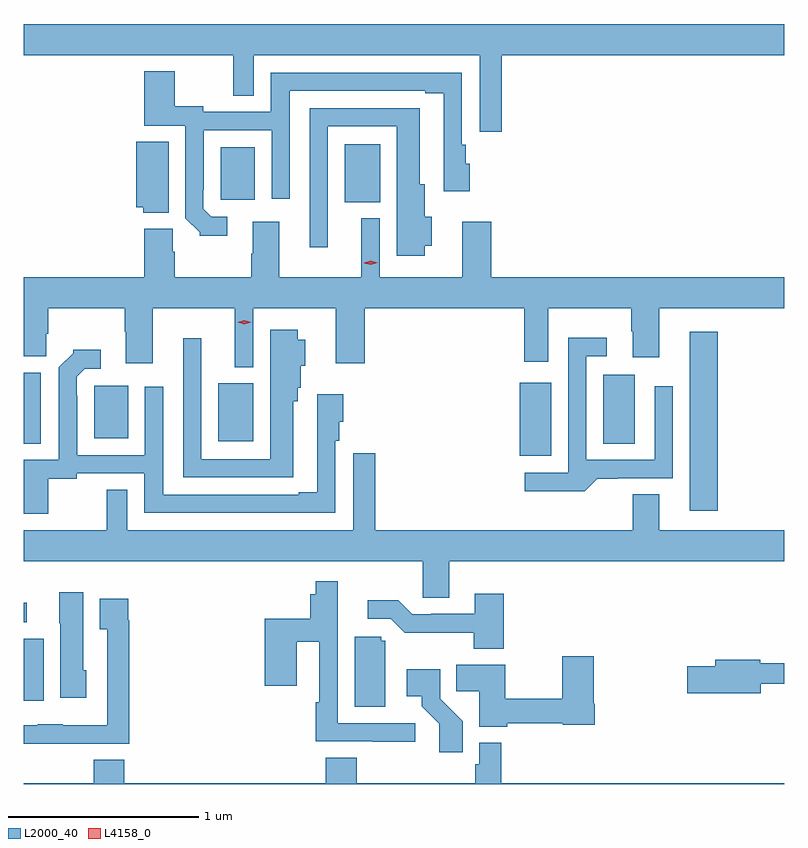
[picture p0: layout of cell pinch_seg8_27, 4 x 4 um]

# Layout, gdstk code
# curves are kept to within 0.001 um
import gdstk
lib = gdstk.Library(unit=1e-6, precision=1e-09)
def R(c, l, rs):  # rectangles x0, y0, x1, y1
    for r in rs: c.add(gdstk.rectangle(r[:2], r[2:], *l))
def P(c, l, *ps):  # polygons
    for p in ps: c.add(gdstk.Polygon(p, *l))
L2000_40 = (2000, 40)
L4158_0 = (4158, 0)

pinch_seg8_27 = lib.new_cell('pinch_seg8_27')
R(pinch_seg8_27, L2000_40, [(892.226,1126.422,892.33,1126.749), (892.226,1126.836,892.24,1126.939), (895.73,1127.424,895.877,1128.364), (894.836,1127.711,895,1128.097), (892.226,1127.776,892.315,1128.15), (895.274,1127.776,895.441,1128.139), (893.249,1127.789,893.434,1128.094), (892.595,1127.804,892.774,1128.081), (893.915,1129.046,894.1,1129.351), (893.261,1129.059,893.44,1129.336)])
P(pinch_seg8_27, L2000_40, [(894.74,1129.82),(896.226,1129.82),(896.226,1129.984),(892.226,1129.984),(892.226,1129.82),(893.328,1129.82),(893.328,1129.606),(893.436,1129.606),(893.436,1129.82),(894.624,1129.82),(894.624,1129.416),(894.74,1129.416)],
  [(893.296,1128.969),(893.211,1128.969),(893.169,1129.011),(893.169,1129.111),(893.172,1129.111),(893.172,1129.425),(893.529,1129.425),(893.529,1129.065),(893.625,1129.065),(893.625,1129.632),(894.338,1129.632),(894.338,1129.62),(894.435,1129.62),(894.435,1129.104),(894.572,1129.104),(894.572,1129.248),(894.551,1129.248),(894.551,1129.348),(894.531,1129.348),(894.531,1129.728),(893.525,1129.728),(893.525,1129.521),(893.169,1129.521),(893.169,1129.55),(893.019,1129.55),(893.019,1129.735),(892.859,1129.735),(892.859,1129.449),(893.076,1129.449),(893.076,1128.963),(893.151,1128.888),(893.151,1128.871),(893.296,1128.871)],
  [(894.334,1128.818),(894.373,1128.818),(894.373,1128.971),(894.334,1128.971),(894.334,1129.14),(894.31,1129.14),(894.31,1129.542),(893.73,1129.542),(893.73,1128.81),(893.826,1128.81),(893.826,1129.446),(894.188,1129.446),(894.188,1128.764),(894.334,1128.764)],
  [(892.987,1129.364),(892.817,1129.364),(892.817,1129.02),(892.854,1129.02),(892.854,1128.992),(892.987,1128.992)],
  [(893.433,1128.488),(893.867,1128.488),(893.867,1128.198),(894.02,1128.198),(894.02,1128.488),(894.86,1128.488),(894.86,1128.207),(894.985,1128.207),(894.985,1128.488),(895.423,1128.488),(895.423,1128.368),(895.43,1128.368),(895.43,1128.231),(895.57,1128.231),(895.57,1128.488),(896.226,1128.488),(896.226,1128.652),(894.686,1128.652),(894.686,1128.943),(894.533,1128.943),(894.533,1128.652),(894.099,1128.652),(894.099,1128.961),(894.002,1128.961),(894.002,1128.652),(893.569,1128.652),(893.569,1128.943),(893.429,1128.943),(893.429,1128.776),(893.422,1128.776),(893.422,1128.652),(893.019,1128.652),(893.019,1128.785),(893.01,1128.785),(893.01,1128.907),(892.859,1128.907),(892.859,1128.652),(892.226,1128.652),(892.226,1128.235),(892.344,1128.235),(892.344,1128.355),(892.353,1128.355),(892.353,1128.488),(892.756,1128.488),(892.756,1128.364),(892.763,1128.364),(892.763,1128.198),(892.903,1128.198),(892.903,1128.488),(893.336,1128.488),(893.336,1128.179),(893.433,1128.179)],
  [(893.644,1128),(893.668,1128),(893.668,1128.069),(893.683,1128.069),(893.683,1128.186),(893.707,1128.186),(893.707,1128.322),(893.668,1128.322),(893.668,1128.376),(893.522,1128.376),(893.522,1127.694),(893.16,1127.694),(893.16,1128.331),(893.064,1128.331),(893.064,1127.598),(893.644,1127.598)],
  [(895.243,1127.59),(895.351,1127.59),(895.351,1127.595),(895.641,1127.595),(895.641,1128.079),(895.545,1128.079),(895.545,1127.691),(895.185,1127.691),(895.185,1128.237),(895.294,1128.237),(895.294,1128.334),(895.089,1128.334),(895.089,1127.622),(894.861,1127.622),(894.861,1127.525),(895.178,1127.525)],
  [(892.353,1127.59),(892.503,1127.59),(892.503,1127.619),(892.859,1127.619),(892.859,1127.412),(893.865,1127.412),(893.865,1127.792),(893.885,1127.792),(893.885,1127.892),(893.906,1127.892),(893.906,1128.037),(893.769,1128.037),(893.769,1127.521),(893.672,1127.521),(893.672,1127.508),(892.959,1127.508),(892.959,1128.076),(892.863,1128.076),(892.863,1127.715),(892.506,1127.715),(892.506,1128.029),(892.503,1128.029),(892.503,1128.129),(892.545,1128.171),(892.63,1128.171),(892.63,1128.27),(892.485,1128.27),(892.485,1128.252),(892.41,1128.177),(892.41,1127.691),(892.226,1127.691),(892.226,1127.406),(892.353,1127.406)],
  [(894.463,1127.156),(896.226,1127.156),(896.226,1127.32),(895.57,1127.32),(895.57,1127.51),(895.43,1127.51),(895.43,1127.32),(894.074,1127.32),(894.074,1127.725),(893.958,1127.725),(893.958,1127.32),(892.77,1127.32),(892.77,1127.534),(892.662,1127.534),(892.662,1127.32),(892.226,1127.32),(892.226,1127.156),(894.324,1127.156),(894.324,1126.966),(894.463,1126.966)],
  [(894.286,1126.305),(893.877,1126.305),(893.877,1127.053),(893.761,1127.053),(893.761,1126.984),(893.732,1126.984),(893.732,1126.855),(893.492,1126.855),(893.492,1126.503),(893.662,1126.503),(893.662,1126.733),(893.781,1126.733),(893.781,1126.415),(893.761,1126.415),(893.761,1126.209),(894.061,1126.209),(894.061,1126.207),(894.286,1126.207)],
  [(892.555,1126.584),(892.537,1126.584),(892.537,1126.993),(892.412,1126.993),(892.412,1126.83),(892.418,1126.83),(892.418,1126.44),(892.555,1126.44)],
  [(894.752,1126.987),(894.599,1126.987),(894.599,1126.881),(894.37,1126.881),(894.37,1126.878),(894.27,1126.878),(894.197,1126.951),(894.036,1126.951),(894.036,1126.854),(894.156,1126.854),(894.229,1126.781),(894.592,1126.782),(894.592,1126.697),(894.752,1126.697)],
  [(892.531,1126.197),(892.781,1126.197),(892.781,1126.847),(892.774,1126.847),(892.774,1126.96),(892.625,1126.96),(892.625,1126.799),(892.665,1126.799),(892.665,1126.294),(892.431,1126.294),(892.431,1126.3),(892.299,1126.3),(892.299,1126.293),(892.226,1126.293),(892.226,1126.197),(892.299,1126.197),(892.299,1126.196),(892.531,1126.196)],
  [(894.127,1126.74),(894.105,1126.74),(894.105,1126.761),(893.966,1126.761),(893.966,1126.392),(894.127,1126.392)],
  [(894.768,1126.305),(895.062,1126.305),(895.062,1126.297),(895.229,1126.297),(895.229,1126.408),(895.224,1126.408),(895.224,1126.657),(895.058,1126.657),(895.058,1126.433),(894.76,1126.433),(894.76,1126.612),(894.502,1126.612),(894.502,1126.474),(894.623,1126.474),(894.623,1126.286),(894.768,1126.286)],
  [(896.104,1126.512),(896.226,1126.512),(896.226,1126.621),(896.1,1126.621),(896.1,1126.64),(895.865,1126.64),(895.865,1126.604),(895.716,1126.604),(895.716,1126.462),(896.104,1126.462)],
  [(894.536,1126.314),(894.417,1126.433),(894.417,1126.588),(894.24,1126.588),(894.24,1126.448),(894.32,1126.448),(894.32,1126.393),(894.411,1126.303),(894.411,1126.152),(894.536,1126.152)],
  [(896.226,1125.988),(894.737,1125.988),(894.737,1126.201),(894.621,1126.201),(894.621,1126.089),(894.601,1126.089),(894.601,1125.988),(893.978,1125.988),(893.978,1126.124),(893.813,1126.124),(893.813,1125.988),(892.754,1125.988),(892.754,1126.112),(892.594,1126.112),(892.594,1125.988),(892.226,1125.988),(892.226,1125.985),(896.226,1125.985)])
P(pinch_seg8_27, L4158_0, [(894.051,1128.717),(894.016,1128.726),(894.016,1128.727),(894.016,1128.727),(894.051,1128.737),(894.087,1128.728),(894.087,1128.728),(894.087,1128.728)],
  [(893.385,1128.405),(893.35,1128.415),(893.35,1128.415),(893.35,1128.415),(893.385,1128.425),(893.421,1128.415),(893.421,1128.415),(893.421,1128.415)])

lib.write_gds('pinch_seg8_27.gds')
